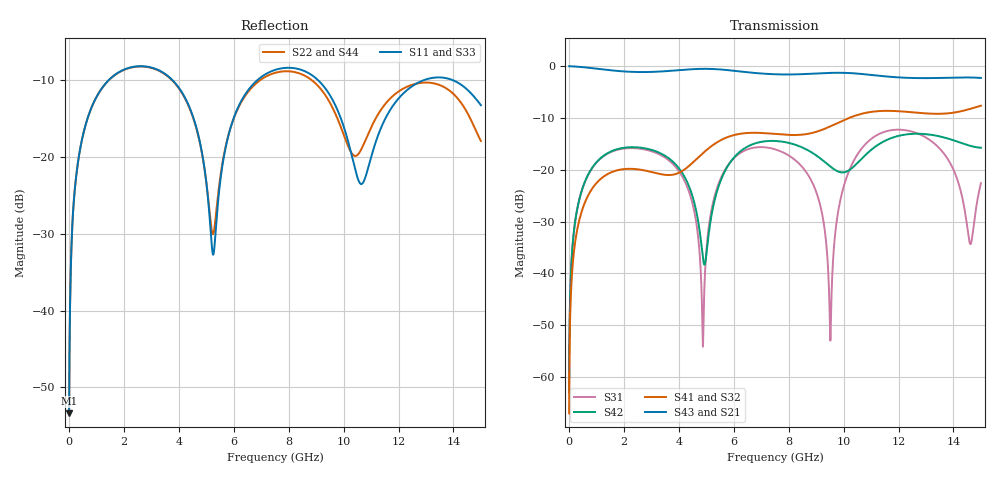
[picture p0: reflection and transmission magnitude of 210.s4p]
! Created with skrf 1.8.0 (http://scikit-rf.org).
# GHz S RI R 50.0
!freq ReS11 ImS11 ReS12 ImS12 ReS13 ImS13
! ReS14 ImS14
! ReS21 ImS21 ReS22 ImS22 ReS23 ImS23
! ReS24 ImS24
! ReS31 ImS31 ReS32 ImS32 ReS33 ImS33
! ReS34 ImS34
! ReS41 ImS41 ReS42 ImS42 ReS43 ImS43
! ReS44 ImS44
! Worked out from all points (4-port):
!   2499 points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, 5 MHz to 15 GHz, reference 50 ohm
!   strongest paths, dB at 5 MHz, 3.476 GHz, 7.19 GHz, 11.1 GHz, 15 GHz:
!     S43: 0.0, -1.0, -1.5, -1.8, -2.3
!     S21: 0.0, -1.0, -1.5, -1.8, -2.3
!     S41: -67.0, -21.0, -13.0, -8.8, -7.7
!     S32: -67.0, -21.0, -13.0, -8.8, -7.7
!     S42: -63.0, -17.2, -14.5, -15.8, -15.8
!     S31: -63.0, -17.6, -15.7, -13.7, -22.6
!   lowest |S11| = -53.4 dB at 5 MHz (marker M1), VSWR 1.00, Z = 50.2 + j0.13 ohm
!   |S11| at or under -10 dB: start of sweep to 1.439 GHz; 3.776 GHz to 6.852 GHz (3.076 GHz wide, 57.9 % of centre); 9.077 GHz to 12.9 GHz (3.827 GHz wide, 34.8 % of centre) (the widest 3 of 4)
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0.005  0.00171 0.00129  0.9983 -0.00332  8.69e-05 0.000704  -8.43e-05 -0.000437
       0.9983 -0.00332  0.00171 0.00129  -8.43e-05 -0.000437  8.7e-05 0.000704
       8.69e-05 0.000704  -8.43e-05 -0.000437  0.00171 0.00129  0.9983 -0.00332
       -8.43e-05 -0.000437  8.7e-05 0.000704  0.9983 -0.00332  0.00171 0.00129
1.569404  0.2859 0.1693  0.514 -0.7486  0.1357 0.0633  -0.0951 6.1e-05
          0.514 -0.7486  0.284 0.1706  -0.095 1.2e-05  0.1413 0.0552
          0.1357 0.0633  -0.095 1.2e-05  0.286 0.1693  0.5139 -0.7486
          -0.0951 6.1e-05  0.1413 0.0552  0.5139 -0.7486  0.2841 0.1707
4.877032  0.0422 -0.0892  -0.8959 -0.2876  0.00195 0.000212  -0.0394 0.139
          -0.8959 -0.2876  0.0498 -0.0841  -0.04 0.1388  -0.0121 -0.00727
          0.00195 0.000212  -0.04 0.1388  0.0429 -0.091  -0.8956 -0.2879
          -0.0394 0.139  -0.0121 -0.00727  -0.8956 -0.2879  0.0503 -0.0859
8.103376  0.3798 -0.0325  -0.0182 0.8299  0.1244 -0.0433  0.2095 -0.0537
          -0.0182 0.8299  0.3604 -0.016  0.2096 -0.0521  0.1265 -0.1259
          0.1244 -0.0433  0.2096 -0.0521  0.3783 -0.0331  -0.0167 0.8306
          0.2095 -0.0537  0.1265 -0.1259  -0.0167 0.8306  0.3583 -0.0166
9.516465  0.1821 -0.1721  0.6073 0.608  -0.00185 -0.00126  0.1794 -0.1911
          0.6073 0.608  0.1838 -0.1275  0.1808 -0.1898  -0.0687 -0.0826
          -0.00185 -0.00126  0.1808 -0.1898  0.1811 -0.1701  0.6098 0.6063
          0.1794 -0.1911  -0.0687 -0.0826  0.6098 0.6063  0.1807 -0.1273
11.00459  0.0876 0.0483  0.8153 -0.1044  0.103 0.1692  -0.0738 -0.3538
          0.8153 -0.1044  0.1398 0.0698  -0.0715 -0.3535  0.0347 0.1515
          0.103 0.1692  -0.0715 -0.3535  0.0925 0.0517  0.8142 -0.1091
          -0.0738 -0.3538  0.0347 0.1515  0.8142 -0.1091  0.1372 0.0733
15  0.1848 -0.1153  -0.573 -0.5142  0.00516 0.0739  -0.2727 0.312
    -0.573 -0.5142  0.1241 -0.0288  -0.2769 0.3077  -0.1506 -0.0625
    0.00516 0.0739  -0.2769 0.3077  0.1857 -0.1236  -0.5764 -0.5083
    -0.2727 0.312  -0.1506 -0.0625  -0.5764 -0.5083  0.1319 -0.0311
